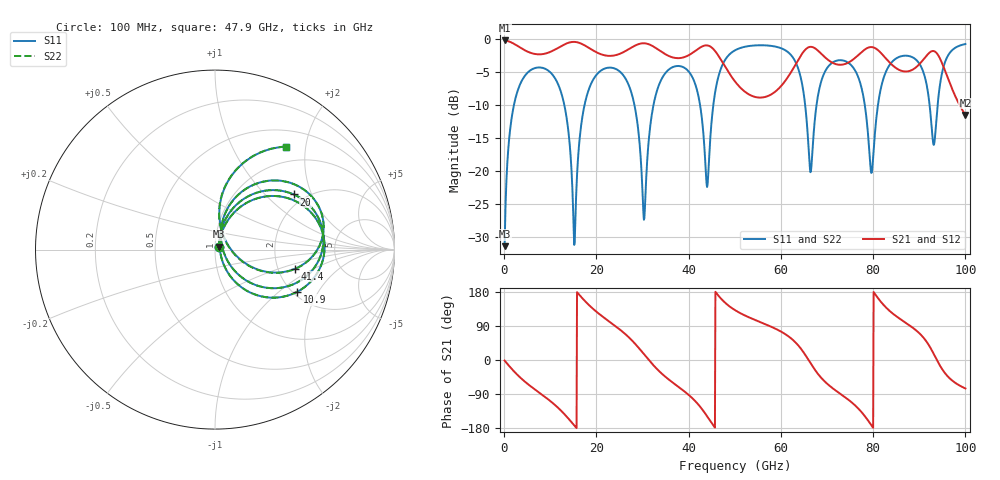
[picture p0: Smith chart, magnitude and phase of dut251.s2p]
! Touchstone file exported from HFSS 2026.1.0
!  File:  C:/ffzhzh/LocalFiles/Ansys_Project_Files/temp_train_TSV_RDL_251_1783671233_33328.aedt
!  Generated:  04:25:43 PM Jul 10, 2026
!  Design:  TSV_RDL
!  Project:  temp_train_TSV_RDL_251_1783671233_33328
! Variables:
!  h_bsmrdl = 4.24um
!  h_ox = 20um
!  h_rdl = 5um
!  h_sub = 85.34um
!  h_tmrdl = 3.48um
!  h_tsv = 85.34um
!  h_via = 3um
!  l_bsmrdl = 478.85um
!  l_sub = 3698.17um
!  l_tmrdl = 438.03um
!  m_sub = 200um
!  pitch = 56.61um
!  r_tsv = 7.43um
!  s_tmrdl = 10um
!  w_bsmrdl = 23.89um
!  w_sub = 500um
!  w_tmrdl = 12.61um
!  x_tsv_center1 = 444.335um
!  x_tsv_center2 = 947.075um
!  x_tsv_center3 = 1397.715um
!  x_tsv_center4 = 1900.455um
!  x_tsv_center5 = 2351.095um
!  x_tsv_center6 = 2853.835um
# GHz S MA R 50.000000
! Terminal data exported
! Port[1] = TM_RDL1_1_T1
! Port[2] = TM_RDL5_1_T1
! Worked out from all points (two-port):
!   1000 points, 100 MHz to 100 GHz, reference 50 ohm
!   highest |S21| = -0.18 dB at 100 MHz (marker M1); lowest = -11.5 dB at 100 GHz (marker M2)
!   |S21| within 3 dB of the highest: start of sweep to 47.06 GHz; 75.44 GHz to 83.11 GHz (7.666 GHz wide, 9.67 % of centre) (the widest 2 of 4)
!   lowest |S11| = -31.4 dB at 100 MHz (marker M3), VSWR 1.06, Z = 52.1 + j1.73 ohm
!   |S11| at or under -10 dB: 13.05 GHz to 17.42 GHz (4.372 GHz wide, 28.7 % of centre); 28.25 GHz to 32.37 GHz (4.119 GHz wide, 13.6 % of centre); 42.48 GHz to 45.34 GHz (2.866 GHz wide, 6.53 % of centre) (the widest 3 of 7)
!   |S22| runs from -31.4 to -0.7 dB; largest |S21 - S12| = 2.1e-12
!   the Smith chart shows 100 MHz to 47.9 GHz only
!   S11 on the Smith chart (normalised r, x): 100 MHz: 1.04, +0.03; 10.9 GHz: 2.10, -1.34; 20 GHz: 1.74, +1.50; 41.4 GHz: 2.49, -0.67; 47.9 GHz: 0.74, +1.65
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0.1  0.0269 38.1  0.9791 -1.5  0.9791 -1.5  0.0269 38.1
! Gamma 0 0 0 0
! Port Impedance 50 0 50 0
3  0.4136 45.9  0.8853 -40.7  0.8853 -40.7  0.4136 45.9
10.9  0.5139 -27.3  0.8302 -117.4  0.8302 -117.4  0.5139 -27.3
15.2  0.02752 -3.9  0.9549 -172.5  0.9549 -172.5  0.02778 -3.7
16.8  0.2366 67.5  0.9231 165.0  0.9231 165.0  0.2366 67.4
20  0.5361 34.9  0.7968 127.5  0.7968 127.5  0.5362 34.9
27.1  0.4406 -28.2  0.8444 59.0  0.8444 59.0  0.4407 -28.3
30.3  0.04269 7.7  0.9323 15.6  0.9323 15.6  0.0431 7.7
33.4  0.4342 57.9  0.834 -27.0  0.834 -27.0  0.4342 57.8
41.4  0.4595 -13.4  0.8138 -108.1  0.8138 -108.1  0.4593 -13.6
44  0.07565 28.3  0.8983 -148.4  0.8983 -148.4  0.07378 28.3
47.9  0.6968 55.4  0.6197 151.2  0.6197 151.2  0.6968 55.5
50.1  0.8262 37.6  0.4757 131.2  0.4757 131.2  0.8262 37.7
63.1  0.6799 -37.1  0.6364 47.2  0.6364 47.2  0.6801 -37.1
66.7  0.1189 22.7  0.8746 -13.5  0.8746 -13.5  0.1203 22.1
69.7  0.58 25.8  0.7219 -59.0  0.7219 -59.0  0.5802 25.6
76.4  0.5528 -28.0  0.7379 -123.4  0.7379 -123.4  0.5526 -28.3
79.6  0.09671 2.3  0.8725 -171.8  0.8725 -171.8  0.0945 2.1
83.4  0.6251 35.7  0.676 131.4  0.676 131.4  0.6249 35.7
88.6  0.7277 -2.9  0.5891 85.1  0.5891 85.1  0.7277 -2.9
93.3  0.1658 27.5  0.8099 12.2  0.8099 12.2  0.1649 27.6
100  0.9199 10.6  0.266 -75.1  0.266 -75.1  0.92 10.6
